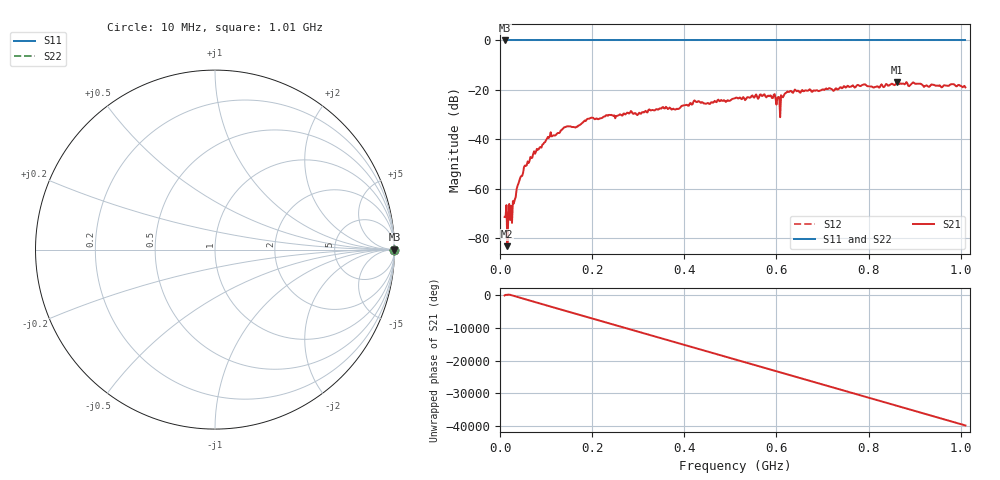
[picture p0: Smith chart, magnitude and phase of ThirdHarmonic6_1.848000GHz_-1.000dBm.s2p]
! 8/16/2025 10:21:57 PM
! C:\ANRITSUVNA\TEMP\TEMP.S2P
! CHANNEL.1
! TR.MEASUREMENT
! RAW.DATA
! RF.CORRECTION.OFF
! AVERAGING.OFF
! IF.BANDWIDTH: 5KHZ
! SWEEPTYPE:  FREQ.SWEEP(Linear)
! Reference Plane Port Info
! PORT:  PORT1  PORT2
! DISTANCE:  0  m  0  m
! TIME:  0  s  0  s
! PHASE.OFFSET:  0  deg.  0  deg.
! LOSS:  0  dB  0  dB
! REF.LOSS:  0  dB  0  dB
! REF.FREQ:  0  Hz  0  Hz
! Power Info
! POWER:  -20  dBm  -20  dBm
! EFF.POWER:  -20  dBm  -20  dBm
! SOURCE.ATTEN:  0  dB  0  dB
! TEST.ATTEN:  0  dB  0  dB
# GHZ S RI R 50.0
! FREQ.GHZ  S11RE  S11IM  S21RE  S21IM  S12RE  S12IM  S22RE  S22IM
!; PortSelection: Port_12
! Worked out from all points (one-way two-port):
!   501 points, 10 MHz to 1.01 GHz, reference 50 ohm
!   highest |S21| = -16.79 dB at 862 MHz (marker M1); lowest = -83.2 dB at 16 MHz (marker M2)
!   lowest |S11| = 0.0 dB at 10 MHz (marker M3)
!   |S11| at or under -10 dB: nowhere
!   |S22| runs from 0.0 to 0.0 dB; largest |S21 - S12| = 1.1
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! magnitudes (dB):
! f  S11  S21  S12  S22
! 10 MHz  0.0  -71.3  0.0  0.0
! 12 MHz  0.0  -71.5  0.0  0.0
! 16 MHz  0.0  -83.2  0.0  0.0
! 20 MHz  0.0  -66.1  0.0  0.0
! 26 MHz  0.0  -73.7  0.0  0.0
! 40 MHz  0.0  -57.9  0.0  0.0
! 56 MHz  0.0  -50.7  0.0  0.0
! 76 MHz  0.0  -45.8  0.0  0.0
! 106 MHz  0.0  -39.4  0.0  0.0
! 142 MHz  0.0  -35.0  0.0  0.0
! 178 MHz  0.0  -33.4  0.0  0.0
! 198 MHz  0.0  -31.3  0.0  0.0
! 344 MHz  0.0  -27.9  0.0  0.0
! 510 MHz  0.0  -23.4  0.0  0.0
! 592 MHz  0.0  -23.3  0.0  0.0
! 602 MHz  0.0  -23.2  0.0  0.0
! 604 MHz  0.0  -22.8  0.0  0.0
! 626 MHz  0.0  -20.8  0.0  0.0
! 678 MHz  0.0  -20.7  0.0  0.0
! 844 MHz  0.0  -18.2  0.0  0.0
! 862 MHz  0.0  -16.8  0.0  0.0
! 1.01 GHz  0.0  -19.0  0.0  0.0
